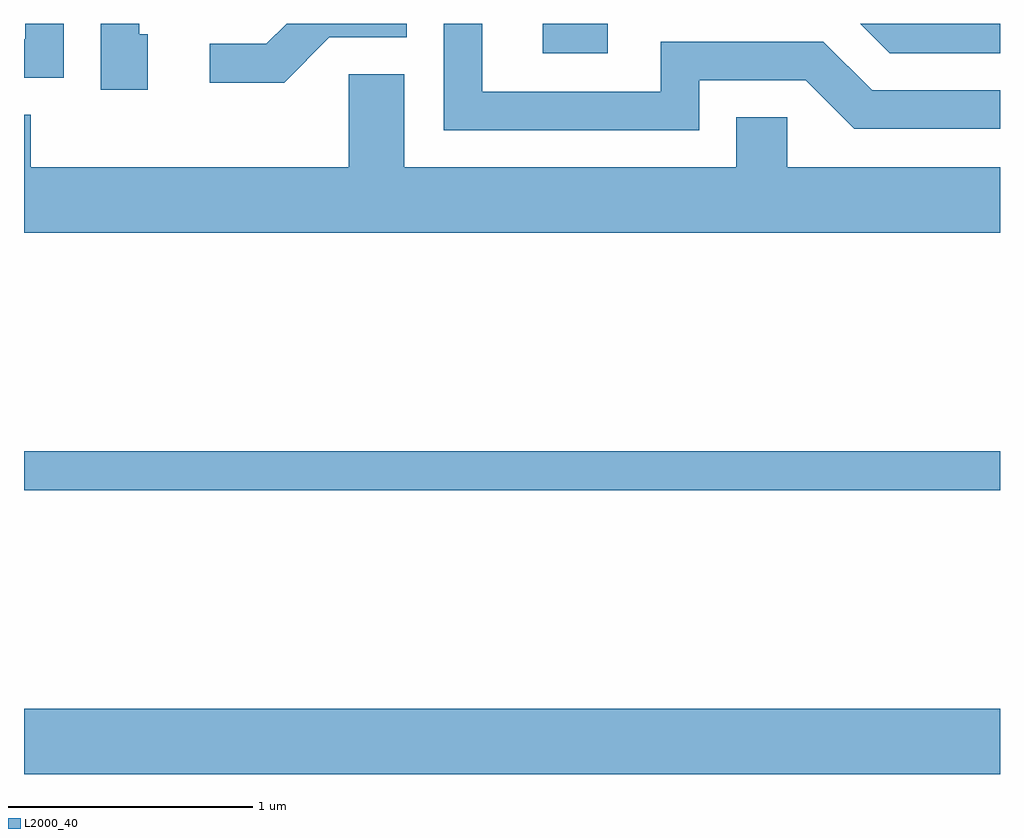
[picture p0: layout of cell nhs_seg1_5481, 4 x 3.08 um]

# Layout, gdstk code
import gdstk
lib = gdstk.Library(unit=1e-6, precision=1e-09)
def R(c, l, rs):  # rectangles x0, y0, x1, y1
    for r in rs: c.add(gdstk.rectangle(r[:2], r[2:], *l))
def P(c, l, *ps):  # polygons
    for p in ps: c.add(gdstk.Polygon(p, *l))
L2000_40 = (2000, 40)

nhs_seg1_5481 = lib.new_cell('nhs_seg1_5481')
R(nhs_seg1_5481, L2000_40, [(349.611,950.636,353.611,950.904), (349.611,951.801,353.611,951.959), (351.736,953.591,352.004,953.712)])
P(nhs_seg1_5481, L2000_40, [(350.862,953.656),(351.179,953.656),(351.179,953.712),(350.687,953.712),(350.604,953.629),(350.373,953.629),(350.373,953.471),(350.677,953.471)],
  [(350.119,953.669),(350.084,953.669),(350.084,953.712),(349.926,953.712),(349.926,953.441),(350.119,953.441)],
  [(352.379,953.481),(352.814,953.481),(353.014,953.281),(353.611,953.281),(353.611,953.439),(353.087,953.439),(352.887,953.639),(352.221,953.639),(352.221,953.434),(351.489,953.434),(351.489,953.712),(351.331,953.712),(351.331,953.276),(352.379,953.276)],
  [(353.611,953.712),(353.038,953.712),(353.159,953.591),(353.611,953.591)],
  [(349.774,953.712),(349.616,953.712),(349.616,953.649),(349.611,953.649),(349.611,953.491),(349.774,953.491)],
  [(353.611,953.124),(352.739,953.124),(352.739,953.329),(352.531,953.329),(352.531,953.124),(351.169,953.124),(351.169,953.504),(350.941,953.504),(350.941,953.124),(349.639,953.124),(349.639,953.339),(349.611,953.339),(349.611,952.856),(353.611,952.856)])

lib.write_gds('nhs_seg1_5481.gds')
